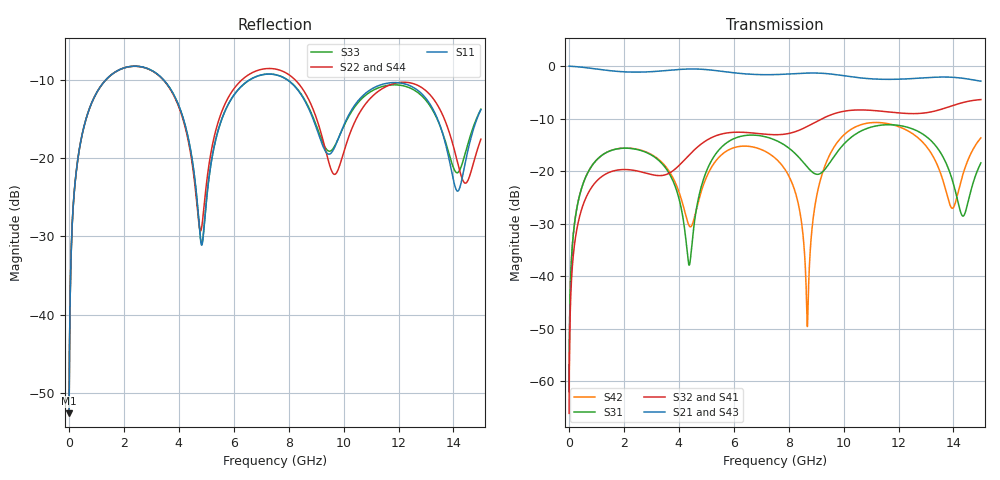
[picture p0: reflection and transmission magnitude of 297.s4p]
! Created with skrf 1.8.0 (http://scikit-rf.org).
# GHz S RI R 50.0
!freq ReS11 ImS11 ReS12 ImS12 ReS13 ImS13
! ReS14 ImS14
! ReS21 ImS21 ReS22 ImS22 ReS23 ImS23
! ReS24 ImS24
! ReS31 ImS31 ReS32 ImS32 ReS33 ImS33
! ReS34 ImS34
! ReS41 ImS41 ReS42 ImS42 ReS43 ImS43
! ReS44 ImS44
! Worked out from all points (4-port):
!   2499 points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, 5 MHz to 15 GHz, reference 50 ohm
!   strongest paths, dB at 5 MHz, 3.476 GHz, 7.19 GHz, 11.1 GHz, 15 GHz:
!     S21: 0.0, -0.9, -1.6, -2.5, -2.9
!     S43: 0.0, -0.9, -1.6, -2.4, -2.9
!     S32: -66.1, -20.7, -13.0, -8.5, -6.4
!     S41: -66.1, -20.8, -13.1, -8.6, -6.4
!     S31: -62.0, -19.1, -13.5, -11.5, -18.4
!     S42: -62.0, -18.8, -16.4, -10.7, -13.7
!   lowest |S11| = -52.6 dB at 5 MHz (marker M1), VSWR 1.00, Z = 50.2 + j0.141 ohm
!   |S11| at or under -10 dB: start of sweep to 1.329 GHz; 3.459 GHz to 6.554 GHz (3.095 GHz wide, 61.8 % of centre); 7.97 GHz to end of sweep
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0.005  0.00186 0.00141  0.9981 -0.00362  9.6e-05 0.000788  -9.29e-05 -0.000487
       0.9981 -0.00362  0.00186 0.00141  -9.29e-05 -0.000487  9.6e-05 0.000788
       9.6e-05 0.000788  -9.29e-05 -0.000487  0.00186 0.00141  0.9981 -0.00362
       -9.29e-05 -0.000487  9.6e-05 0.000788  0.9981 -0.00362  0.00186 0.00141
1.419341  0.2806 0.1705  0.5235 -0.7424  0.1395 0.0628  -0.0959 -0.00172
          0.5235 -0.7424  0.2802 0.1707  -0.0962 -0.00142  0.1401 0.0618
          0.1395 0.0628  -0.0962 -0.00142  0.2804 0.1706  0.5235 -0.7424
          -0.0959 -0.00172  0.1401 0.0618  0.5235 -0.7424  0.2804 0.1706
4.848636  0.028 0.00212  -0.9312 -0.0429  0.0358 0.0671  -0.00539 0.1839
          -0.9312 -0.0429  0.0356 0.013  -0.000446 0.184  -0.0201 0.065
          0.0358 0.0671  -0.000446 0.184  0.0288 0.00242  -0.9312 -0.0426
          -0.00539 0.1839  -0.0201 0.065  -0.9312 -0.0426  0.0345 0.0138
7.603168  0.3378 -0.0399  0.0626 0.8291  0.1202 -0.1505  0.2091 -0.0665
          0.0626 0.8291  0.3624 -0.0758  0.2084 -0.0773  0.1214 -0.0344
          0.1202 -0.1505  0.2084 -0.0773  0.3385 -0.0367  0.0624 0.8283
          0.2091 -0.0665  0.1214 -0.0344  0.0624 0.8283  0.3657 -0.0779
8.678616  0.1832 -0.1176  0.5884 0.624  -0.0622 -0.0901  0.1932 -0.1831
          0.5884 0.624  0.1821 -0.1682  0.1829 -0.1938  0.00294 0.00153
          -0.0622 -0.0901  0.1829 -0.1938  0.1881 -0.1161  0.5874 0.624
          0.1932 -0.1831  0.00294 0.00153  0.5874 0.624  0.1826 -0.1717
10.04794  0.1524 0.0729  0.8026 -0.0843  0.0421 0.1804  -0.0602 -0.3671
          0.8026 -0.0843  0.1064 0.0457  -0.0784 -0.3646  0.1042 0.2003
          0.0421 0.1804  -0.0784 -0.3646  0.1525 0.0663  0.8028 -0.0834
          -0.0602 -0.3671  0.1042 0.2003  0.8028 -0.0834  0.1071 0.0475
15  0.1561 0.1333  -0.7168 0.0417  0.0627 0.1019  0.0516 0.4765
    -0.7168 0.0417  0.1134 0.069  0.0924 0.4709  0.1612 0.1306
    0.0627 0.1019  0.0924 0.4709  0.1674 0.1205  -0.7174 0.0397
    0.0516 0.4765  0.1612 0.1306  -0.7174 0.0397  0.106 0.071
